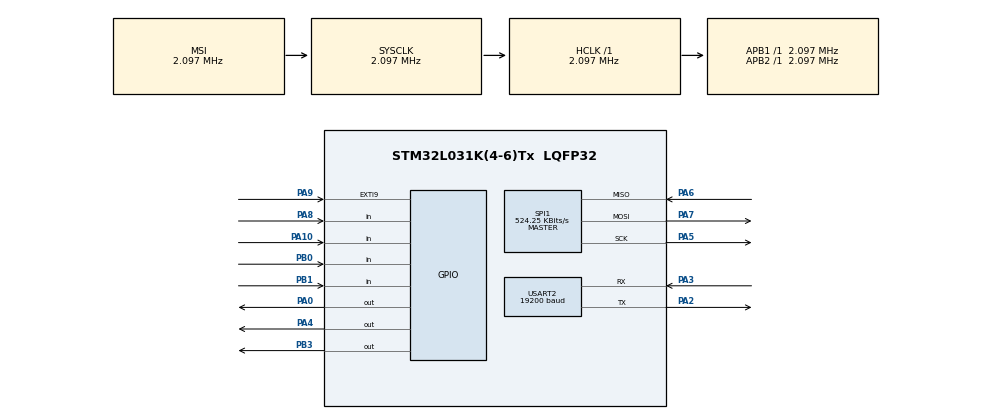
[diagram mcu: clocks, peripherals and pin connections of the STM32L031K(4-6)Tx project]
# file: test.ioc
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Mcu.Family=STM32L0
Mcu.Name=STM32L031K(4-6)Tx
Mcu.Package=LQFP32
NVIC.EXTI4_15_IRQn=true\:0\:0\:false\:false\:true\:true\:true\:true
PA0-CK_IN.Signal=GPIO_Output
PA10.Signal=GPIO_Input
PA13.Mode=Serial_Wire
PA13.Signal=SYS_SWDIO
PA14.Mode=Serial_Wire
PA14.Signal=SYS_SWCLK
PA2.Mode=Asynchronous
PA2.Signal=USART2_TX
PA3.Mode=Asynchronous
PA3.Signal=USART2_RX
PA4.Signal=GPIO_Output
PA5.Mode=Full_Duplex_Master
PA5.Signal=SPI1_SCK
PA6.Mode=Full_Duplex_Master
PA6.Signal=SPI1_MISO
PA7.Mode=Full_Duplex_Master
PA7.Signal=SPI1_MOSI
PA8.Signal=GPIO_Input
PA9.GPIO_ModeDefaultEXTI=GPIO_MODE_IT_RISING
PA9.Signal=GPXTI9
PB0.GPIO_PuPd=GPIO_PULLDOWN
PB0.Signal=GPIO_Input
PB1.Signal=GPIO_Input
PB3.GPIO_PuPd=GPIO_PULLUP
PB3.Signal=GPIO_Output
ProjectManager.HeapSize=0x200
ProjectManager.StackSize=0x400
ProjectManager.TargetToolchain=STM32CubeIDE
RCC.AHBFreq_Value=2097000
RCC.APB1Freq_Value=2097000
RCC.APB1TimFreq_Value=2097000
RCC.APB2Freq_Value=2097000
RCC.APB2TimFreq_Value=2097000
RCC.HSE_VALUE=8000000
RCC.HSI16_VALUE=16000000
RCC.HSI_VALUE=16000000
RCC.LSE_VALUE=32768
RCC.MSI_VALUE=2097000
RCC.SYSCLKFreq_VALUE=2097000
RCC.VCOOutputFreq_Value=48000000
SPI1.BaudRatePrescaler=SPI_BAUDRATEPRESCALER_4
SPI1.CalculateBaudRate=524.25 KBits/s
SPI1.Direction=SPI_DIRECTION_2LINES
SPI1.Mode=SPI_MODE_MASTER
SPI1.VirtualType=VM_MASTER
USART2.BaudRate=19200
USART2.VirtualMode-Asynchronous=VM_ASYNC
board=custom

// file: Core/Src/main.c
/* USER CODE BEGIN Header */
/**
 ******************************************************************************
 * @file           : main.c
 * @brief          : Main program body
 ******************************************************************************
 * @attention
 *
 * Copyright (c) 2025 STMicroelectronics.
 * All rights reserved.
 *
 * This software is licensed under terms that can be found in the LICENSE file
 * in the root directory of this software component.
 * If no LICENSE file comes with this software, it is provided AS-IS.
 *
 ******************************************************************************
 */
/* USER CODE END Header */
#include "main.h"

/* USER CODE BEGIN Includes */
#include "sx1280.h"
#include "sx1280_ll.h"
#include <string.h>
#include <stdio.h>
#include <stdbool.h>
/* USER CODE END Includes */

SPI_HandleTypeDef hspi1;

UART_HandleTypeDef huart2;

/* USER CODE BEGIN PV */
sx1280 sx;
volatile bool dio1_flag = false;

/* USER CODE END PV */

void SystemClock_Config(void);
static void MX_GPIO_Init(void);
static void MX_SPI1_Init(void);
static void MX_USART2_UART_Init(void);
/* USER CODE BEGIN PFP */
//#define PUTCHAR_PROTOTYPE int __io_putchar(int ch)
/* USER CODE END PFP */

/* USER CODE BEGIN 0 */

void print_hex(uint8_t *data, uint8_t len) {
    char buf[5];
    for (uint8_t i = 0; i < len; i++) {
        sprintf(buf, "%02X ", data[i]);
        HAL_UART_Transmit(&huart2, (uint8_t*)buf, strlen(buf), HAL_MAX_DELAY);
    }
    HAL_UART_Transmit(&huart2, (uint8_t*)"\r\n", 2, HAL_MAX_DELAY);
}

void print_bin_16(uint16_t data) {
    char buf[17];  // 16 bits + null terminator

    for (int8_t bit = 15; bit >= 0; bit--) {
        buf[15 - bit] = (data & ((uint16_t)1 << bit)) ? '1' : '0';
    }
    buf[16] = '\0';  // null terminate

    HAL_UART_Transmit(&huart2, (uint8_t*)buf, 16, HAL_MAX_DELAY);
    HAL_UART_Transmit(&huart2, (uint8_t*)"\r\n", 2, HAL_MAX_DELAY);
}

void print_bin_8(uint8_t data) {
    char buf[9];  // 16 bits + null terminator

    for (int8_t bit = 7; bit >= 0; bit--) {
        buf[7 - bit] = (data & ((uint16_t)1 << bit)) ? '1' : '0';
    }
    buf[8] = '\0';  // null terminate

    HAL_UART_Transmit(&huart2, (uint8_t*)buf, 8, HAL_MAX_DELAY);
    HAL_UART_Transmit(&huart2, (uint8_t*)"\r\n", 2, HAL_MAX_DELAY);
}

/* USER CODE END 0 */

int main(void)
{

  /* MCU Configuration--------------------------------------------------------*/

  /* Reset of all peripherals, Initializes the Flash interface and the Systick. */
  HAL_Init();

  /* Configure the system clock */
  SystemClock_Config();

  /* Initialize all configured peripherals */
  MX_GPIO_Init();
  MX_SPI1_Init();
  MX_USART2_UART_Init();
  /* USER CODE BEGIN 2 */
  module m = { .hspi = &hspi1,
  			 .nss = { GPIO_PIN_4, GPIOA },
  			 .reset = {GPIO_PIN_3, GPIOB },
  			 .dio1 = { GPIO_PIN_9, GPIOA } };

  memset(&sx, 0, sizeof(sx1280));

  sx.m = &m;

  uint8_t buffer[0xFF];
  memset( &buffer, 0x00, 0xFF );

  /* USER CODE END 2 */

  /* Infinite loop */
  /* USER CODE BEGIN WHILE */
	while (1) {

//		TEST 1: BLINKING LED (pass)
//		  HAL_GPIO_TogglePin(GPIOA, GPIO_PIN_0);
//		  HAL_Delay(100);

//		TEST 2: TURN LED ON WITH BUTTON (pass)
//		  if (HAL_GPIO_ReadPin(GPIOA, GPIO_PIN_10)){
//			  HAL_GPIO_WritePin(GPIOA, GPIO_PIN_0, GPIO_PIN_SET);
//		  }
//		  else{
//			  HAL_GPIO_WritePin(GPIOA, GPIO_PIN_0, GPIO_PIN_RESET);
//		  }

//		TEST 3: SPI COMMS (pass)
//		init(&m);
//		reset(&m);
//
//		set_nss(&m, 0);
//		write_byte(&m, 0xC0);
//		uint8_t resp = read_byte(&m);
//
//		set_nss(&m, 1);
//
//		if (resp) {
//			HAL_GPIO_WritePin(GPIOA, GPIO_PIN_0, GPIO_PIN_SET);
//		}
//		while (1);

//		TEST 4: READ REGISTER (FIRMWARE VERSION) (pass)
//		reset(&m);
//		set_nss(&m, 1);
//
//		uint8_t fw_version[2] = {0};
//		ReadRegister(&sx, 0x0153, fw_version, 2);
//
//		print_hex(fw_version, sizeof(fw_version));
//
//		uint16_t fw = (fw_version[1] << 8) | fw_version[0];
//
//
//		if(fw == 0xB7A9 || fw == 0xB5A9){
//		    HAL_GPIO_WritePin(GPIOA, GPIO_PIN_0, GPIO_PIN_SET);
//		} else {
//		    HAL_GPIO_WritePin(GPIOA, GPIO_PIN_0, GPIO_PIN_RESET);
//		}
//		while(1);

//		TEST 5: WRITE AND READ REGISTER (pass)
//		reset(&m);
//
//		uint8_t write[1] = {0x1A};
//		uint8_t read[1] = {0};
//
//		write_registers(sx.m, 0x0900, write, 1);
//
//		print_hex(write, sizeof(write));
//
//		read_registers(sx.m, 0x0900, read, 1);
//
//		print_hex(read, sizeof(read));
//
//		if((read[0] == 0x1A) && (read[0] == write[0])){
//			HAL_GPIO_WritePin(GPIOA, GPIO_PIN_0, GPIO_PIN_SET);
//		} else {
//			HAL_GPIO_WritePin(GPIOA, GPIO_PIN_0, GPIO_PIN_RESET);
//		}
//		while(1);

//		UART PRINTING
//		uint8_t Test[] = "Hello World !!!\r\n"; //Data to send
//		HAL_UART_Transmit(&huart2,Test,sizeof(Test),10);// Sending in normal mode
//		HAL_Delay(1000);

//		TEST 6: READ AND WRITE BUFFER (pass)
//		reset(&m);
//
//		uint8_t write[2] = {0x1A, 0x1B};
//		uint8_t read[2] = {0};
//
//		write_buffer(sx.m, TX_BASEADDR, write, 2);
//
//		print_hex(write, sizeof(write));
//
//		read_buffer(sx.m, TX_BASEADDR, read, 2);
//
//		print_hex(read, sizeof(read));
//
//		if((read[0] == 0x1A) && (read[1] == 0x1B)){
//			HAL_GPIO_WritePin(GPIOA, GPIO_PIN_0, GPIO_PIN_SET);
//		} else {
//			HAL_GPIO_WritePin(GPIOA, GPIO_PIN_0, GPIO_PIN_RESET);
//		}
//		HAL_Delay(2000);
//		HAL_GPIO_WritePin(GPIOA, GPIO_PIN_0, GPIO_PIN_RESET);
//
//		uint8_t write1[3] = {0x1A, 0x1B, 0x1C};
//		uint8_t read1[3] = {0};
//
//		write_buffer(sx.m, TX_BASEADDR, write1, 3);
//
//		print_hex(write1, sizeof(write1));
//
//		read_buffer(sx.m, TX_BASEADDR, read1, 3);
//
//		print_hex(read1, sizeof(read1));
//
//		while(1);

//		TEST 7: SETSTANDBY (pass)
//		init(&m);
//		reset(&m);
//		SetSleep(&sx, SLEEP_RAM_RETEN);
//		HAL_Delay(2000);
//		set_nss(&m, 0);
//		set_nss(&m, 1);
//		wait_busy();
//		config(&sx);
//
//		uint16_t IRQMASK = RXDONE | RXTXTIMEOUT;
//		uint16_t DIO1MASK = RXDONE | RXTXTIMEOUT;
//		SetDioIrqParams(&sx, IRQMASK, DIO1MASK, 0x00, 0x00); 	//txdone and rxtxtimeout to dio1
////		SetStandby(&sx, STDBY_XOSC);
//		uint8_t s1 = GetStatus(&sx);
//		print_bin_8(s1);
//		uint16_t irq1 = GetIrqStatus(&sx);
//		print_bin_16(irq1);
//		ClearIrqStatus(&sx, CLEAR_ALL);
////		uint16_t irq = GetIrqStatus(&sx);
////		print_bin_16(irq);
//
////		SetStandby(&sx, STDBY_XOSC); //works
//		SetRx(&sx);	//works
//
////		SetTxParams(&sx);
////		SetTx(&sx); //works
////		uint8_t packet[1] = {0x01};
////		send_payload(&sx, packet, 1);
//		uint8_t status = GetStatus(&sx);
//		print_bin_8(status);
//
//		while(!dio1_flag){}; 	//wait for txdone or timeout
//
//		if(HAL_GPIO_ReadPin(GPIOA, GPIO_PIN_9)==GPIO_PIN_SET){
//			uint8_t Test[] = "dio1 true";
//			HAL_UART_Transmit(&huart2,Test,sizeof(Test),10);// Sending in normal mode
//		}
//		dio1_flag = false;
//
//		HAL_Delay(2000);
//
//		uint16_t irq11 = GetIrqStatus(&sx);
//		print_bin_16(irq11);
//
//
//		while(1);

//  }
//		FINAL TEST TEST
//		bool transmit = false;
//		if (transmit){	//transmitter
//			init(&m);
//			reset(&m);
//			config(&sx);
//
//			SetTxParams(&sx);
//			uint16_t IRQMASK = TXDONE | RXTXTIMEOUT;
//			uint16_t DIO1MASK = TXDONE | RXTXTIMEOUT;
//			SetDioIrqParams(&sx, IRQMASK, DIO1MASK, 0x00, 0x00); 	//txdone and rxtxtimeout to dio1
////			SetTxContinuousWave(&sx);
//			uint8_t status = GetStatus(&sx);
//			print_bin_8(status);
//
//
//
//			while(1){
//				if (HAL_GPIO_ReadPin(GPIOA, GPIO_PIN_10)){
//					HAL_GPIO_WritePin(GPIOA, GPIO_PIN_0, GPIO_PIN_SET);
//
//					//write consecutive bytes
////					uint8_t packet[1] = {0x00};
////					for(int i = 0; i<16; i++){
////						packet[0] += 1;
////						print_hex(packet, 1);
////						send_payload(&sx, packet, 1);
////					}
//
//					//write long packet
//					uint8_t packet[8] = {0x01, 0x02, 0x03, 0x04, 0x05, 0x06, 0x07, 0x08};
//					send_payload(&sx, packet, 8);
//
//
//					while(!dio1_flag){}; 	//wait for txdone or timeout
//					dio1_flag = false;
//					uint8_t status = GetStatus(&sx);
//					print_bin_8(status);
//					ClearIrqStatus(&sx, CLEAR_ALL);
//					HAL_GPIO_WritePin(GPIOA, GPIO_PIN_0, GPIO_PIN_RESET);
//					HAL_Delay(5000);
//
//				}
//				else{
//					HAL_GPIO_WritePin(GPIOA, GPIO_PIN_0, GPIO_PIN_RESET);
//				}
//
////				HAL_GPIO_WritePin(GPIOA, GPIO_PIN_0, GPIO_PIN_SET);
////				while(!dio1_flag){}; 	//wait for txdone or timeout
////				dio1_flag = false;
////				uint8_t status = GetStatus(&sx);
////				print_bin_8(status);
////				ClearIrqStatus(&sx, CLEAR_ALL);
////				HAL_GPIO_WritePin(GPIOA, GPIO_PIN_0, GPIO_PIN_RESET);
//
//			}
//
//		}
//
//		else{		//receiver
//			init(&m);
//			reset(&m);
//			SetStandby(&sx, STDBY_XOSC);
//			config(&sx);
//
//
//			uint16_t IRQMASK = RXDONE | CRCERROR;
//			uint16_t DIO1MASK = RXDONE | CRCERROR;
//			SetDioIrqParams(&sx, IRQMASK, DIO1MASK, 0x00, 0x00); //rxdone and crcerror to dio1
//			ClearIrqStatus(&sx, CLEAR_ALL);
//			SetRx(&sx);
//
//			while(1){
//				uint8_t status1 = GetStatus(&sx);
////				print_bin_8(status1);
//				while(!dio1_flag){
////					uint8_t rssi = GetRssiInst(&sx);
////					char buf[64];
////					int rssiDbm = -(rssi / 2);
////					int n = sprintf(buf, "RSSIinst = %d dBm\r\n", rssiDbm);
////					if (rssiDbm >-60){
////						HAL_UART_Transmit(&huart2, (uint8_t*)buf, n, HAL_MAX_DELAY);
////					}
//				}
//
////				if(HAL_GPIO_ReadPin(GPIOA, GPIO_PIN_9)==GPIO_PIN_SET){
////					uint8_t Test[] = "dio1 true";
////					HAL_UART_Transmit(&huart2,Test,sizeof(Test),10);
////				}
//
//				dio1_flag = false;
//
//
//				uint8_t packet[8];
//				uint8_t size[1] = {0x08};
//				get_payload(&sx, packet, size, 0x08);
//				print_hex(packet, 8);
//
////				uint8_t offset[1];
////
////				GetRxBufferStatus(&sx, size, offset);
////				print_hex(offset[0], 1);
//
//				uint16_t packetstatus = GetPacketStatus(&sx);
////				print_bin_16(packetstatus);
//
//				uint8_t rssi1 = (packetstatus>>8)&0x00FF;
//				char buf1[64];
//				int rssiDbm1 = -(rssi1 / 2);
//				int n1 = sprintf(buf1, "RSSIinst = %d dBm\r\n", rssiDbm1);
//				HAL_UART_Transmit(&huart2, (uint8_t*)buf1, n1, HAL_MAX_DELAY);
//
//				uint16_t irq = GetIrqStatus(&sx);
////				print_bin_16(irq);
//				if(irq & CRCERROR){
//					ClearIrqStatus(&sx, CLEAR_ALL);
//					continue; //bad packet
//				}
////				uint16_t packetstatus = GetPacketStatus(&sx);
//				//maybe do some checks
////				if(packetstatus==0x0000){
////					continue;
////				}
//				ClearIrqStatus(&sx, CLEAR_ALL);
//				HAL_UART_Transmit(&huart2,packet,sizeof(packet),10);
//				if (packet[0] == 0xAB){
//
//					HAL_GPIO_WritePin(GPIOA, GPIO_PIN_0, GPIO_PIN_SET);
//					HAL_Delay(10);
//				}
//				else{
//					HAL_GPIO_WritePin(GPIOA, GPIO_PIN_0, GPIO_PIN_RESET);
//				}
//
//			}
//
//
//		}

//		TRANSCIEVER SWITCHING
		bool transmit = true;
		if (transmit){	//transmitter
			init(&m);
			reset(&m);
			config(&sx);

			SetTxParams(&sx);
			uint16_t IRQMASK = TXDONE | RXTXTIMEOUT;
			uint16_t DIO1MASK = TXDONE | RXTXTIMEOUT;
			SetDioIrqParams(&sx, IRQMASK, DIO1MASK, 0x00, 0x00); 	//txdone and rxtxtimeout to dio1
//			SetTxContinuousWave(&sx);
			uint8_t status = GetStatus(&sx);
			print_bin_8(status);

			while(1){
				if (!HAL_GPIO_ReadPin(GPIOA, GPIO_PIN_10)){

					uint8_t packet[8] = {0x0E, 0x00, 0x00, 0x00, 0x00, 0x00, 0x00, 0x00};
					send_payload(&sx, packet, 8);
					while(!dio1_flag){};
					dio1_flag = false;

					uint8_t status = GetStatus(&sx);
					print_bin_8(status);
					ClearIrqStatus(&sx, CLEAR_ALL);
					HAL_GPIO_WritePin(GPIOA, GPIO_PIN_0, GPIO_PIN_RESET);
					HAL_Delay(500);

				}
				else{

					uint8_t switch_packet[8] = {0x0E, 0x00, 0x00, 0x00, 0x00, 0x00, 0x00, 0xFF};
					send_payload(&sx, switch_packet, 8);
					while(!dio1_flag){};
					dio1_flag = false;
					//switch to rx
					uint8_t Test[] = "switching to rx\r\n";
					HAL_UART_Transmit(&huart2,Test,sizeof(Test),10);
					IRQMASK = RXDONE | CRCERROR;
					DIO1MASK = RXDONE | CRCERROR;
					SetDioIrqParams(&sx, IRQMASK, DIO1MASK, 0x00, 0x00); //rxdone and crcerror to dio1
					ClearIrqStatus(&sx, CLEAR_ALL);
					SetRx(&sx);

					uint8_t status1 = GetStatus(&sx);
					print_bin_8(status1);
					while(!dio1_flag){}

					dio1_flag = false;
					uint8_t received[8];
					uint8_t size[1] = {0x08};
					get_payload(&sx, received, size, 0x08);
					uint8_t text[] = "packet received";
					HAL_UART_Transmit(&huart2,text,sizeof(text),10);
					print_hex(received, 8);

					ClearIrqStatus(&sx, CLEAR_ALL);

					if (received[7] == 0xFF){			//switch back to tx
						uint8_t Test[] = "switching to tx\r\n";
						HAL_UART_Transmit(&huart2,Test,sizeof(Test),10);
						HAL_GPIO_WritePin(GPIOA, GPIO_PIN_0, GPIO_PIN_SET);
						IRQMASK = TXDONE | RXTXTIMEOUT;
						DIO1MASK = TXDONE | RXTXTIMEOUT;
						SetDioIrqParams(&sx, IRQMASK, DIO1MASK, 0x00, 0x00); 	//txdone and rxtxtimeout to dio1
						HAL_GPIO_WritePin(GPIOA, GPIO_PIN_0, GPIO_PIN_RESET);
						HAL_Delay(500);
					}
					//otherwise keep listening

				}
			}

		}

		else{		//receiver
			init(&m);
			reset(&m);
			SetStandby(&sx, STDBY_XOSC);
			config(&sx);
			SetTxParams(&sx);

			uint16_t IRQMASK = RXDONE | CRCERROR;
			uint16_t DIO1MASK = RXDONE | CRCERROR;
			SetDioIrqParams(&sx, IRQMASK, DIO1MASK, 0x00, 0x00); //rxdone and crcerror to dio1
			ClearIrqStatus(&sx, CLEAR_ALL);
			SetRx(&sx);

			while(1){

				while(!dio1_flag){}

				dio1_flag = false;

				uint8_t read[8];
				uint8_t size[1] = {0x08};
				get_payload(&sx, read, size, 0x08);
				print_hex(read, 8);

//				uint16_t packetstatus = GetPacketStatus(&sx);

				ClearIrqStatus(&sx, CLEAR_ALL);

				HAL_UART_Transmit(&huart2,read,sizeof(read),10);

				if (read[7] == 0xFF){		//set tx single
					uint8_t Test[] = "switching to tx\r\n";
					HAL_UART_Transmit(&huart2,Test,sizeof(Test),10);
					uint16_t IRQMASK = TXDONE | RXTXTIMEOUT;
					uint16_t DIO1MASK = TXDONE | RXTXTIMEOUT;
					SetDioIrqParams(&sx, IRQMASK, DIO1MASK, 0x00, 0x00); 	//txdone and rxtxtimeout to dio1
					uint8_t packet[8] = {0xAB, 0xCD, 0xEF, 0x01, 0x00, 0x00, 0x00, 0xFF};
					HAL_Delay(100);
					send_payload(&sx, packet, 8);
					while(!dio1_flag){}
					dio1_flag = false;
					uint8_t status = GetStatus(&sx);
					uint8_t circuit_status = status & 0b11100000;
					print_bin_8(status);
					uint16_t irqstat = GetIrqStatus(&sx);
					print_bin_16(irqstat);
					if(circuit_status == 0x40){
						uint8_t Test[] = "transmit success, switching to rx\r\n";
						HAL_UART_Transmit(&huart2,Test,sizeof(Test),10);
						uint16_t IRQMASK = RXDONE | CRCERROR;
						uint16_t DIO1MASK = RXDONE | CRCERROR;
						SetDioIrqParams(&sx, IRQMASK, DIO1MASK, 0x00, 0x00); //rxdone and crcerror to dio1
						ClearIrqStatus(&sx, CLEAR_ALL);
						SetRx(&sx);
						HAL_GPIO_WritePin(GPIOA, GPIO_PIN_0, GPIO_PIN_SET);
						HAL_GPIO_WritePin(GPIOA, GPIO_PIN_0, GPIO_PIN_RESET);

					}
					else{
						uint8_t Test[] = "not in standby, bad transmit\r\n";
						HAL_UART_Transmit(&huart2,Test,sizeof(Test),10);
						HAL_Delay(10000);
					}

				}
				//otherwise continue listening

			}

		}

	}
    /* USER CODE END WHILE */

}

void SystemClock_Config(void)
{
  RCC_OscInitTypeDef RCC_OscInitStruct = {0};
  RCC_ClkInitTypeDef RCC_ClkInitStruct = {0};
  RCC_PeriphCLKInitTypeDef PeriphClkInit = {0};

  /** Configure the main internal regulator output voltage
  */
  __HAL_PWR_VOLTAGESCALING_CONFIG(PWR_REGULATOR_VOLTAGE_SCALE1);

  /** Initializes the RCC Oscillators according to the specified parameters
  * in the RCC_OscInitTypeDef structure.
  */
  RCC_OscInitStruct.OscillatorType = RCC_OSCILLATORTYPE_MSI;
  RCC_OscInitStruct.MSIState = RCC_MSI_ON;
  RCC_OscInitStruct.MSICalibrationValue = 0;
  RCC_OscInitStruct.MSIClockRange = RCC_MSIRANGE_5;
  RCC_OscInitStruct.PLL.PLLState = RCC_PLL_NONE;
  if (HAL_RCC_OscConfig(&RCC_OscInitStruct) != HAL_OK)
  {
    Error_Handler();
  }

  /** Initializes the CPU, AHB and APB buses clocks
  */
  RCC_ClkInitStruct.ClockType = RCC_CLOCKTYPE_HCLK|RCC_CLOCKTYPE_SYSCLK
                              |RCC_CLOCKTYPE_PCLK1|RCC_CLOCKTYPE_PCLK2;
  RCC_ClkInitStruct.SYSCLKSource = RCC_SYSCLKSOURCE_MSI;
  RCC_ClkInitStruct.AHBCLKDivider = RCC_SYSCLK_DIV1;
  RCC_ClkInitStruct.APB1CLKDivider = RCC_HCLK_DIV1;
  RCC_ClkInitStruct.APB2CLKDivider = RCC_HCLK_DIV1;

  if (HAL_RCC_ClockConfig(&RCC_ClkInitStruct, FLASH_LATENCY_0) != HAL_OK)
  {
    Error_Handler();
  }
  PeriphClkInit.PeriphClockSelection = RCC_PERIPHCLK_USART2;
  PeriphClkInit.Usart2ClockSelection = RCC_USART2CLKSOURCE_PCLK1;
  if (HAL_RCCEx_PeriphCLKConfig(&PeriphClkInit) != HAL_OK)
  {
    Error_Handler();
  }
}

static void MX_SPI1_Init(void)
{

  /* SPI1 parameter configuration*/
  hspi1.Instance = SPI1;
  hspi1.Init.Mode = SPI_MODE_MASTER;
  hspi1.Init.Direction = SPI_DIRECTION_2LINES;
  hspi1.Init.DataSize = SPI_DATASIZE_8BIT;
  hspi1.Init.CLKPolarity = SPI_POLARITY_LOW;
  hspi1.Init.CLKPhase = SPI_PHASE_1EDGE;
  hspi1.Init.NSS = SPI_NSS_SOFT;
  hspi1.Init.BaudRatePrescaler = SPI_BAUDRATEPRESCALER_4;
  hspi1.Init.FirstBit = SPI_FIRSTBIT_MSB;
  hspi1.Init.TIMode = SPI_TIMODE_DISABLE;
  hspi1.Init.CRCCalculation = SPI_CRCCALCULATION_DISABLE;
  hspi1.Init.CRCPolynomial = 7;
  if (HAL_SPI_Init(&hspi1) != HAL_OK)
  {
    Error_Handler();
  }

}

static void MX_USART2_UART_Init(void)
{

  huart2.Instance = USART2;
  huart2.Init.BaudRate = 19200;
  huart2.Init.WordLength = UART_WORDLENGTH_8B;
  huart2.Init.StopBits = UART_STOPBITS_1;
  huart2.Init.Parity = UART_PARITY_NONE;
  huart2.Init.Mode = UART_MODE_TX_RX;
  huart2.Init.HwFlowCtl = UART_HWCONTROL_NONE;
  huart2.Init.OverSampling = UART_OVERSAMPLING_16;
  huart2.Init.OneBitSampling = UART_ONE_BIT_SAMPLE_DISABLE;
  huart2.AdvancedInit.AdvFeatureInit = UART_ADVFEATURE_NO_INIT;
  if (HAL_UART_Init(&huart2) != HAL_OK)
  {
    Error_Handler();
  }

}

static void MX_GPIO_Init(void)
{
  GPIO_InitTypeDef GPIO_InitStruct = {0};

  /* GPIO Ports Clock Enable */
  __HAL_RCC_GPIOA_CLK_ENABLE();
  __HAL_RCC_GPIOB_CLK_ENABLE();

  /*Configure GPIO pin Output Level */
  HAL_GPIO_WritePin(GPIOA, GPIO_PIN_0|GPIO_PIN_4, GPIO_PIN_RESET);

  /*Configure GPIO pin Output Level */
  HAL_GPIO_WritePin(GPIOB, GPIO_PIN_3, GPIO_PIN_RESET);

  /*Configure GPIO pins : PA0 PA4 */
  GPIO_InitStruct.Pin = GPIO_PIN_0|GPIO_PIN_4;
  GPIO_InitStruct.Mode = GPIO_MODE_OUTPUT_PP;
  GPIO_InitStruct.Pull = GPIO_NOPULL;
  GPIO_InitStruct.Speed = GPIO_SPEED_FREQ_LOW;
  HAL_GPIO_Init(GPIOA, &GPIO_InitStruct);

  /*Configure GPIO pin : PB0 */
  GPIO_InitStruct.Pin = GPIO_PIN_0;
  GPIO_InitStruct.Mode = GPIO_MODE_INPUT;
  GPIO_InitStruct.Pull = GPIO_PULLDOWN;
  HAL_GPIO_Init(GPIOB, &GPIO_InitStruct);

  /*Configure GPIO pin : PB1 */
  GPIO_InitStruct.Pin = GPIO_PIN_1;
  GPIO_InitStruct.Mode = GPIO_MODE_INPUT;
  GPIO_InitStruct.Pull = GPIO_NOPULL;
  HAL_GPIO_Init(GPIOB, &GPIO_InitStruct);

  /*Configure GPIO pins : PA8 PA10 */
  GPIO_InitStruct.Pin = GPIO_PIN_8|GPIO_PIN_10;
  GPIO_InitStruct.Mode = GPIO_MODE_INPUT;
  GPIO_InitStruct.Pull = GPIO_NOPULL;
  HAL_GPIO_Init(GPIOA, &GPIO_InitStruct);

  /*Configure GPIO pin : PA9 */
  GPIO_InitStruct.Pin = GPIO_PIN_9;
  GPIO_InitStruct.Mode = GPIO_MODE_IT_RISING;
  GPIO_InitStruct.Pull = GPIO_NOPULL;
  HAL_GPIO_Init(GPIOA, &GPIO_InitStruct);

  /*Configure GPIO pin : PB3 */
  GPIO_InitStruct.Pin = GPIO_PIN_3;
  GPIO_InitStruct.Mode = GPIO_MODE_OUTPUT_PP;
  GPIO_InitStruct.Pull = GPIO_PULLUP;
  GPIO_InitStruct.Speed = GPIO_SPEED_FREQ_LOW;
  HAL_GPIO_Init(GPIOB, &GPIO_InitStruct);

  /* EXTI interrupt init*/
  HAL_NVIC_SetPriority(EXTI4_15_IRQn, 0, 0);
  HAL_NVIC_EnableIRQ(EXTI4_15_IRQn);

}

/* USER CODE BEGIN 4 */

void HAL_GPIO_EXTI_Callback(uint16_t GPIO_Pin)
{
  if(GPIO_Pin == GPIO_PIN_9) {
	  uint8_t Test[] = "interrupt triggered\r\n"; //Data to send
	  HAL_UART_Transmit(&huart2,Test,sizeof(Test),10);// Sending in normal mode
//	  uint16_t irq = GetIrqStatus(&sx);
//	  ClearIrqStatus(&sx, irq);

	  dio1_flag = true;
  } else {
      __NOP();
  }
}
/* USER CODE END 4 */

void Error_Handler(void)
{
	__disable_irq();
	while (1) {
	}
}
